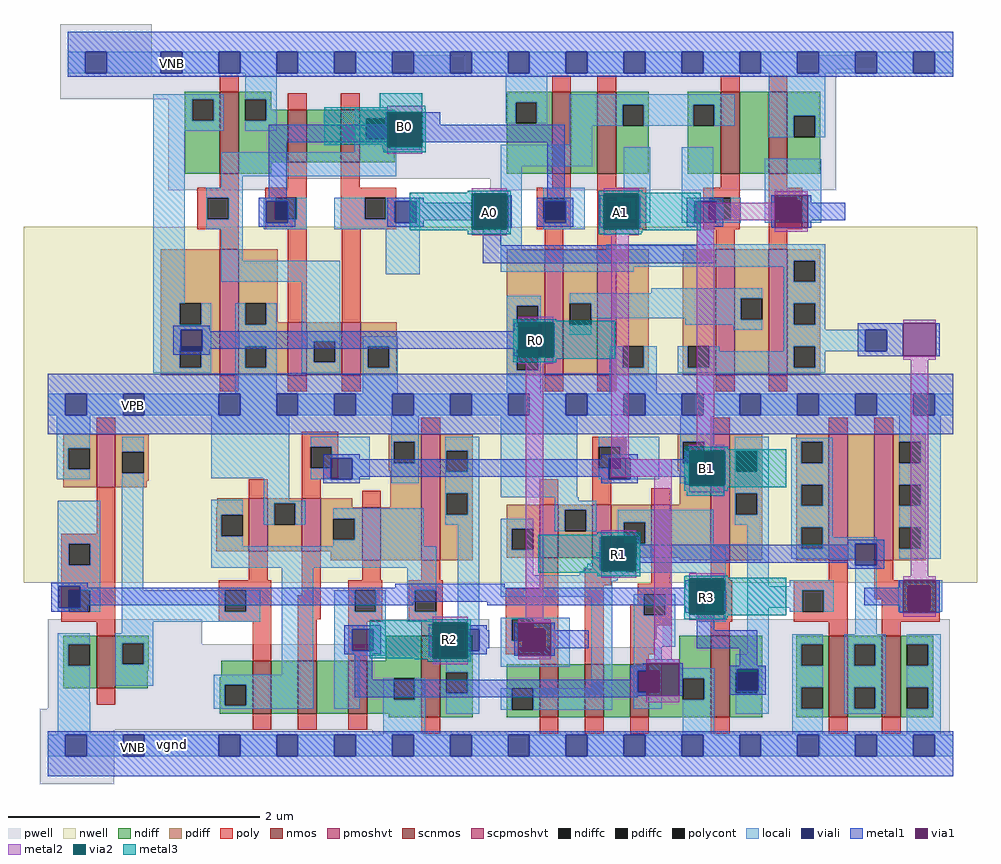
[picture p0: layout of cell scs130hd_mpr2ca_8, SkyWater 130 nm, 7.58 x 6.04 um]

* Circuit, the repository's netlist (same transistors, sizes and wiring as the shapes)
* NGSPICE file created from scs130hd_mpr2ca_8.ext - technology: sky130A

.subckt scs130hd_mpr2ca_8 A1 B1 R3 R2 R1 R0 B0 A0 vgnd vpwr VNB VPB
X0 a_772_910# B0 vgnd VNB sky130_fd_pr__nfet_01v8 ad=0.06825 pd=0.86 as=0.234 ps=2.02 w=0.65 l=0.15
X1 a_178_822# A0 a_352_928# VNB sky130_fd_pr__nfet_01v8 ad=0.1176 pd=1.4 as=0.0567 ps=0.69 w=0.42 l=0.15
X2 a_296_52# a_48_92# a_208_310# VNB sky130_fd_pr__nfet_01v8 ad=0.0441 pd=0.63 as=0.1079 ps=1.36 w=0.42 l=0.15
X3 a_824_46# B1 a_752_46# VNB sky130_fd_pr__nfet_01v8 ad=0.0441 pd=0.63 as=0.0441 ps=0.63 w=0.42 l=0.15
X4 vgnd a_844_910# R1 VNB sky130_fd_pr__nfet_01v8 ad=0.169 pd=1.82 as=0.08775 ps=0.92 w=0.65 l=0.15
X5 vpwr A1 a_670_46# VPB sky130_fd_pr__pfet_01v8_hvt ad=0.140425 pd=1.335 as=0.0672 ps=0.74 w=0.42 l=0.15
X6 R3 a_670_46# vpwr VPB sky130_fd_pr__pfet_01v8_hvt ad=0.26 pd=2.52 as=0.140425 ps=1.335 w=1 l=0.15
X7 a_352_928# B0 vgnd VNB sky130_fd_pr__nfet_01v8 ad=0.0567 pd=0.69 as=0.1118 ps=1.04 w=0.42 l=0.15
X8 vpwr A1 a_208_310# VPB sky130_fd_pr__pfet_01v8_hvt ad=0.140425 pd=1.335 as=0.07525 ps=0.82 w=0.42 l=0.15
X9 a_368_52# B1 a_296_52# VNB sky130_fd_pr__nfet_01v8 ad=0.0525 pd=0.67 as=0.0441 ps=0.63 w=0.42 l=0.15
X10 vgnd A1 a_824_46# VNB sky130_fd_pr__nfet_01v8 ad=0.13165 pd=1.14 as=0.0441 ps=0.63 w=0.42 l=0.15
X11 vpwr a_178_822# R0 VPB sky130_fd_pr__pfet_01v8_hvt ad=0.1718 pd=1.39 as=0.47 ps=2.94 w=1 l=0.15
X12 a_208_310# B1 vpwr VPB sky130_fd_pr__pfet_01v8_hvt ad=0.07525 pd=0.82 as=0.0567 ps=0.69 w=0.42 l=0.15
X13 vpwr a_844_910# a_1212_296# VPB sky130_fd_pr__pfet_01v8_hvt ad=0.26 pd=2.52 as=0.105 ps=1.21 w=1 l=0.15
X14 vpwr a_48_92# a_208_310# VPB sky130_fd_pr__pfet_01v8_hvt ad=0.0567 pd=0.69 as=0.1085 ps=1.36 w=0.42 l=0.15
X15 a_178_822# B0 vpwr VPB sky130_fd_pr__pfet_01v8_hvt ad=0.0588 pd=0.7 as=0.1718 ps=1.39 w=0.42 l=0.15
X16 a_48_92# R3 vpwr VPB sky130_fd_pr__pfet_01v8_hvt ad=0.11055 pd=1.37 as=0.1113 ps=1.37 w=0.42 l=0.15
X17 vpwr A1 a_760_590# VPB sky130_fd_pr__pfet_01v8_hvt ad=0.26 pd=2.52 as=0.135 ps=1.27 w=1 l=0.15
X18 a_670_46# B1 vpwr VPB sky130_fd_pr__pfet_01v8_hvt ad=0.0672 pd=0.74 as=0.0567 ps=0.69 w=0.42 l=0.15
X19 a_1212_296# R3 R1 VPB sky130_fd_pr__pfet_01v8_hvt ad=0.105 pd=1.21 as=0.26 ps=2.52 w=1 l=0.15
X20 R2 a_208_310# vgnd VNB sky130_fd_pr__nfet_01v8 ad=0.169 pd=1.82 as=0.1222 ps=1.08 w=0.65 l=0.15
X21 a_844_910# B1 a_760_590# VPB sky130_fd_pr__pfet_01v8_hvt ad=0.26 pd=2.52 as=0.135 ps=1.27 w=1 l=0.15
X22 vpwr R0 a_670_46# VPB sky130_fd_pr__pfet_01v8_hvt ad=0.0567 pd=0.69 as=0.1092 ps=1.36 w=0.42 l=0.15
X23 R3 a_670_46# vgnd VNB sky130_fd_pr__nfet_01v8 ad=0.169 pd=1.82 as=0.13165 ps=1.14 w=0.65 l=0.15
X24 a_760_590# B0 vpwr VPB sky130_fd_pr__pfet_01v8_hvt ad=0.135 pd=1.27 as=0.3 ps=2.6 w=1 l=0.15
X25 vgnd A1 a_368_52# VNB sky130_fd_pr__nfet_01v8 ad=0.1222 pd=1.08 as=0.0525 ps=0.67 w=0.42 l=0.15
X26 vgnd a_178_822# R0 VNB sky130_fd_pr__nfet_01v8 ad=0.1118 pd=1.04 as=0.182 ps=1.86 w=0.65 l=0.15
X27 a_1040_910# A0 a_844_910# VNB sky130_fd_pr__nfet_01v8 ad=0.07475 pd=0.88 as=0.169 ps=1.82 w=0.65 l=0.15
X28 vpwr A0 a_178_822# VPB sky130_fd_pr__pfet_01v8_hvt ad=0.1197 pd=1.41 as=0.0588 ps=0.7 w=0.42 l=0.15
X29 a_48_92# R3 vgnd VNB sky130_fd_pr__nfet_01v8 ad=0.1099 pd=1.37 as=0.1113 ps=1.37 w=0.42 l=0.15
X30 R1 R3 vgnd VNB sky130_fd_pr__nfet_01v8 ad=0.08775 pd=0.92 as=0.169 ps=1.82 w=0.65 l=0.15
X31 a_844_910# A1 a_772_910# VNB sky130_fd_pr__nfet_01v8 ad=0.169 pd=1.82 as=0.06825 ps=0.86 w=0.65 l=0.15
X32 R2 a_208_310# vpwr VPB sky130_fd_pr__pfet_01v8_hvt ad=0.26 pd=2.52 as=0.140425 ps=1.335 w=1 l=0.15
X33 a_760_590# A0 a_844_910# VPB sky130_fd_pr__pfet_01v8_hvt ad=0.135 pd=1.27 as=0.26 ps=2.52 w=1 l=0.15
X34 a_752_46# R0 a_670_46# VNB sky130_fd_pr__nfet_01v8 ad=0.0441 pd=0.63 as=0.1092 ps=1.36 w=0.42 l=0.15
X35 vgnd B1 a_1040_910# VNB sky130_fd_pr__nfet_01v8 ad=0.169 pd=1.82 as=0.07475 ps=0.88 w=0.65 l=0.15
.ends

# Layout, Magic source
magic
tech sky130A
magscale 1 2
<< nwell >>
rect -98 260 1418 826
<< pwell >>
rect -40 1066 106 1148
rect 488 1098 522 1104
rect 1132 1098 1166 1104
rect 488 1066 604 1098
rect 1132 1076 1258 1098
rect 1132 1066 1194 1076
rect -40 1028 1194 1066
rect 132 902 1194 1028
rect 132 884 322 902
rect 644 884 1194 902
rect -60 162 186 202
rect 452 162 642 202
rect -60 157 642 162
rect 918 157 1374 202
rect -60 60 1374 157
rect -72 26 1374 60
rect -72 -60 46 26
rect 456 21 1374 26
rect 672 -16 706 20
rect 1134 18 1168 20
rect 1132 16 1168 18
rect 1134 -16 1168 16
<< nmos >>
rect 18 92 48 176
<< scnmos >>
rect 214 910 244 1040
rect 322 928 352 1012
rect 406 928 436 1012
rect 742 910 772 1040
rect 814 910 844 1040
rect 1010 910 1040 1040
rect 1086 910 1116 1040
rect 266 52 296 136
rect 338 52 368 136
rect 418 52 448 136
rect 534 46 564 176
rect 722 46 752 130
rect 794 46 824 130
rect 866 46 896 130
rect 994 46 1024 176
rect 1182 46 1212 176
rect 1266 46 1296 176
<< scpmoshvt >>
rect 214 590 244 790
rect 730 590 760 790
rect 814 590 844 790
rect 1002 590 1032 790
rect 1086 590 1116 790
rect 260 310 290 394
rect 344 310 374 394
rect 440 296 470 380
rect 534 296 564 496
rect 722 300 752 384
rect 806 300 836 384
rect 900 300 930 384
rect 994 296 1024 496
rect 1182 296 1212 496
rect 1254 296 1284 496
<< pmoshvt >>
rect 322 590 352 674
rect 408 590 438 674
rect 18 412 48 496
<< ndiff >>
rect 158 1028 214 1040
rect 158 994 170 1028
rect 204 994 214 1028
rect 158 910 214 994
rect 244 1028 296 1040
rect 244 994 254 1028
rect 288 1012 296 1028
rect 670 1024 742 1040
rect 288 994 322 1012
rect 244 928 322 994
rect 352 928 406 1012
rect 436 998 492 1012
rect 436 964 446 998
rect 480 964 492 998
rect 436 928 492 964
rect 670 990 684 1024
rect 718 990 742 1024
rect 244 910 296 928
rect 670 910 742 990
rect 772 910 814 1040
rect 844 1020 896 1040
rect 844 986 854 1020
rect 888 986 896 1020
rect 844 910 896 986
rect 958 1020 1010 1040
rect 958 986 966 1020
rect 1000 986 1010 1020
rect 958 910 1010 986
rect 1040 910 1086 1040
rect 1116 1002 1168 1040
rect 1116 968 1126 1002
rect 1160 968 1168 1002
rect 1116 910 1168 968
rect -35 162 18 176
rect -35 128 -27 162
rect 7 128 18 162
rect -35 92 18 128
rect 48 164 101 176
rect 48 130 59 164
rect 93 130 101 164
rect 478 136 534 176
rect 48 120 101 130
rect 48 92 99 120
rect 216 110 266 136
rect 214 98 266 110
rect 214 64 222 98
rect 256 64 266 98
rect 214 52 266 64
rect 296 52 338 136
rect 368 52 418 136
rect 448 108 534 136
rect 448 74 490 108
rect 524 74 534 108
rect 448 52 534 74
rect 482 46 534 52
rect 564 118 616 176
rect 944 130 994 176
rect 564 84 574 118
rect 608 84 616 118
rect 564 46 616 84
rect 670 92 722 130
rect 670 58 678 92
rect 712 58 722 92
rect 670 46 722 58
rect 752 46 794 130
rect 824 46 866 130
rect 896 108 994 130
rect 896 74 950 108
rect 984 74 994 108
rect 896 46 994 74
rect 1024 118 1076 176
rect 1024 84 1034 118
rect 1068 84 1076 118
rect 1024 46 1076 84
rect 1130 162 1182 176
rect 1130 128 1138 162
rect 1172 128 1182 162
rect 1130 94 1182 128
rect 1130 60 1138 94
rect 1172 60 1182 94
rect 1130 46 1182 60
rect 1212 162 1266 176
rect 1212 128 1222 162
rect 1256 128 1266 162
rect 1212 94 1266 128
rect 1212 60 1222 94
rect 1256 60 1266 94
rect 1212 46 1266 60
rect 1296 162 1348 176
rect 1296 128 1306 162
rect 1340 128 1348 162
rect 1296 94 1348 128
rect 1296 60 1306 94
rect 1340 60 1348 94
rect 1296 46 1348 60
<< pdiff >>
rect 120 704 214 790
rect 120 670 150 704
rect 184 670 214 704
rect 120 636 214 670
rect 120 602 150 636
rect 184 602 214 636
rect 120 590 214 602
rect 244 704 306 790
rect 244 670 254 704
rect 288 674 306 704
rect 670 700 730 790
rect 288 670 322 674
rect 244 636 322 670
rect 244 602 254 636
rect 288 602 322 636
rect 244 590 322 602
rect 352 644 408 674
rect 352 610 363 644
rect 397 610 408 644
rect 352 590 408 610
rect 438 636 495 674
rect 438 602 449 636
rect 483 602 495 636
rect 438 590 495 602
rect 670 666 686 700
rect 720 666 730 700
rect 670 632 730 666
rect 670 598 686 632
rect 720 598 730 632
rect 670 590 730 598
rect 760 704 814 790
rect 760 670 770 704
rect 804 670 814 704
rect 760 590 814 670
rect 844 636 896 790
rect 844 602 854 636
rect 888 602 896 636
rect 844 590 896 602
rect 950 636 1002 790
rect 950 602 958 636
rect 992 602 1002 636
rect 950 590 1002 602
rect 1032 712 1086 790
rect 1032 678 1042 712
rect 1076 678 1086 712
rect 1032 590 1086 678
rect 1116 772 1168 790
rect 1116 738 1126 772
rect 1160 738 1168 772
rect 1116 704 1168 738
rect 1116 670 1126 704
rect 1160 670 1168 704
rect 1116 636 1168 670
rect 1116 602 1126 636
rect 1160 602 1168 636
rect 1116 590 1168 602
rect -35 474 18 496
rect -35 440 -27 474
rect 7 440 18 474
rect -35 412 18 440
rect 48 468 101 496
rect 48 434 59 468
rect 93 434 101 468
rect 48 422 101 434
rect 482 484 534 496
rect 482 450 490 484
rect 524 450 534 484
rect 482 438 534 450
rect 48 412 98 422
rect 210 380 260 394
rect 208 368 260 380
rect 208 334 216 368
rect 250 334 260 368
rect 208 310 260 334
rect 290 386 344 394
rect 290 352 300 386
rect 334 352 344 386
rect 290 310 344 352
rect 374 380 424 394
rect 485 380 534 438
rect 374 362 440 380
rect 374 328 394 362
rect 428 328 440 362
rect 374 310 440 328
rect 390 296 440 310
rect 470 296 534 380
rect 564 470 616 496
rect 564 436 574 470
rect 608 436 616 470
rect 564 402 616 436
rect 942 484 994 496
rect 942 450 950 484
rect 984 450 994 484
rect 942 438 994 450
rect 564 368 574 402
rect 608 368 616 402
rect 945 384 994 438
rect 564 296 616 368
rect 670 346 722 384
rect 670 312 678 346
rect 712 312 722 346
rect 670 300 722 312
rect 752 376 806 384
rect 752 342 762 376
rect 796 342 806 376
rect 752 300 806 342
rect 836 356 900 384
rect 836 322 856 356
rect 890 322 900 356
rect 836 300 900 322
rect 930 300 994 384
rect 945 296 994 300
rect 1024 470 1076 496
rect 1024 436 1034 470
rect 1068 436 1076 470
rect 1024 402 1076 436
rect 1024 368 1034 402
rect 1068 368 1076 402
rect 1024 296 1076 368
rect 1130 484 1182 496
rect 1130 450 1138 484
rect 1172 450 1182 484
rect 1130 416 1182 450
rect 1130 382 1138 416
rect 1172 382 1182 416
rect 1130 348 1182 382
rect 1130 314 1138 348
rect 1172 314 1182 348
rect 1130 296 1182 314
rect 1212 296 1254 496
rect 1284 484 1336 496
rect 1284 450 1294 484
rect 1328 450 1336 484
rect 1284 416 1336 450
rect 1284 382 1294 416
rect 1328 382 1336 416
rect 1284 348 1336 382
rect 1284 314 1294 348
rect 1328 314 1336 348
rect 1284 296 1336 314
<< ndiffc >>
rect 170 994 204 1028
rect 254 994 288 1028
rect 446 964 480 998
rect 684 990 718 1024
rect 854 986 888 1020
rect 966 986 1000 1020
rect 1126 968 1160 1002
rect -27 128 7 162
rect 59 130 93 164
rect 222 64 256 98
rect 490 74 524 108
rect 574 84 608 118
rect 678 58 712 92
rect 950 74 984 108
rect 1034 84 1068 118
rect 1138 128 1172 162
rect 1138 60 1172 94
rect 1222 128 1256 162
rect 1222 60 1256 94
rect 1306 128 1340 162
rect 1306 60 1340 94
<< pdiffc >>
rect 150 670 184 704
rect 150 602 184 636
rect 254 670 288 704
rect 254 602 288 636
rect 363 610 397 644
rect 449 602 483 636
rect 686 666 720 700
rect 686 598 720 632
rect 770 670 804 704
rect 854 602 888 636
rect 958 602 992 636
rect 1042 678 1076 712
rect 1126 738 1160 772
rect 1126 670 1160 704
rect 1126 602 1160 636
rect -27 440 7 474
rect 59 434 93 468
rect 490 450 524 484
rect 216 334 250 368
rect 300 352 334 386
rect 394 328 428 362
rect 574 436 608 470
rect 950 450 984 484
rect 574 368 608 402
rect 678 312 712 346
rect 762 342 796 376
rect 856 322 890 356
rect 1034 436 1068 470
rect 1034 368 1068 402
rect 1138 450 1172 484
rect 1138 382 1172 416
rect 1138 314 1172 348
rect 1294 450 1328 484
rect 1294 382 1328 416
rect 1294 314 1328 348
<< poly >>
rect 214 1040 244 1066
rect 742 1040 772 1066
rect 814 1040 844 1066
rect 1010 1040 1040 1066
rect 1086 1040 1116 1066
rect 322 1012 352 1038
rect 406 1012 436 1038
rect 214 888 244 910
rect 322 888 352 928
rect 178 872 244 888
rect 178 838 194 872
rect 228 838 244 872
rect 178 822 244 838
rect 286 872 352 888
rect 286 838 302 872
rect 336 838 352 872
rect 286 822 352 838
rect 406 888 436 928
rect 742 888 772 910
rect 406 872 494 888
rect 406 838 444 872
rect 478 838 494 872
rect 406 823 494 838
rect 407 822 494 823
rect 718 872 772 888
rect 718 838 728 872
rect 762 838 772 872
rect 718 822 772 838
rect 814 888 844 910
rect 1010 888 1040 910
rect 814 872 892 888
rect 814 838 844 872
rect 878 838 892 872
rect 814 822 892 838
rect 982 872 1040 888
rect 982 838 992 872
rect 1026 838 1040 872
rect 982 822 1040 838
rect 1086 888 1116 910
rect 1086 872 1140 888
rect 1086 838 1096 872
rect 1130 838 1140 872
rect 1086 822 1140 838
rect 214 790 244 822
rect 322 674 352 822
rect 408 674 438 822
rect 730 790 760 822
rect 814 790 844 822
rect 1002 790 1032 822
rect 1086 790 1116 822
rect 214 564 244 590
rect 322 564 352 590
rect 408 564 438 590
rect 730 564 760 590
rect 814 564 844 590
rect 1002 564 1032 590
rect 1086 564 1116 590
rect 18 496 48 522
rect 344 476 402 500
rect 534 496 564 522
rect 994 496 1024 522
rect 1182 496 1212 522
rect 1254 496 1284 522
rect 344 442 358 476
rect 392 442 402 476
rect 344 426 402 442
rect 18 338 48 412
rect 260 394 290 424
rect 344 394 374 426
rect -38 322 48 338
rect -38 288 -26 322
rect 8 288 48 322
rect 440 380 470 406
rect -38 248 48 288
rect 260 264 290 310
rect -38 214 -26 248
rect 8 214 48 248
rect -38 198 48 214
rect 212 248 296 264
rect 212 214 222 248
rect 256 214 296 248
rect 344 240 374 310
rect 806 476 860 492
rect 806 442 816 476
rect 850 442 860 476
rect 806 426 860 442
rect 722 384 752 424
rect 806 384 836 426
rect 900 384 930 410
rect 440 264 470 296
rect 534 264 564 296
rect 212 198 296 214
rect 18 176 48 198
rect 266 136 296 198
rect 338 202 374 240
rect 418 248 472 264
rect 418 214 428 248
rect 462 214 472 248
rect 338 136 368 202
rect 418 198 472 214
rect 514 248 568 264
rect 722 250 752 300
rect 806 282 836 300
rect 514 214 524 248
rect 558 214 568 248
rect 514 198 568 214
rect 668 202 752 250
rect 418 136 448 198
rect 534 176 564 198
rect 18 66 48 92
rect 266 26 296 52
rect 338 26 368 52
rect 418 26 448 52
rect 668 168 678 202
rect 712 168 752 202
rect 668 146 752 168
rect 722 130 752 146
rect 794 256 836 282
rect 900 258 930 300
rect 994 264 1024 296
rect 1182 264 1212 296
rect 794 130 824 256
rect 878 242 932 258
rect 878 226 888 242
rect 866 208 888 226
rect 922 208 932 242
rect 866 192 932 208
rect 974 248 1028 264
rect 974 214 984 248
rect 1018 214 1028 248
rect 974 198 1028 214
rect 1126 248 1212 264
rect 1126 214 1140 248
rect 1174 214 1212 248
rect 1254 264 1284 296
rect 1254 248 1358 264
rect 1254 234 1308 248
rect 1126 198 1212 214
rect 866 170 908 192
rect 994 176 1024 198
rect 1182 176 1212 198
rect 1266 214 1308 234
rect 1342 214 1358 248
rect 1266 198 1358 214
rect 1266 176 1296 198
rect 866 146 904 170
rect 866 130 896 146
rect 534 20 564 46
rect 722 20 752 46
rect 794 20 824 46
rect 866 20 896 46
rect 994 20 1024 46
rect 1182 20 1212 46
rect 1266 20 1296 46
<< polycont >>
rect 194 838 228 872
rect 302 838 336 872
rect 444 838 478 872
rect 728 838 762 872
rect 844 838 878 872
rect 992 838 1026 872
rect 1096 838 1130 872
rect 358 442 392 476
rect -26 288 8 322
rect -26 214 8 248
rect 222 214 256 248
rect 816 442 850 476
rect 428 214 462 248
rect 524 214 558 248
rect 678 168 712 202
rect 888 208 922 242
rect 984 214 1018 248
rect 1140 214 1174 248
rect 1308 214 1342 248
<< locali >>
rect -28 1070 0 1104
rect 34 1070 120 1104
rect 154 1070 212 1104
rect 246 1070 304 1104
rect 338 1070 396 1104
rect 430 1070 488 1104
rect 522 1070 580 1104
rect 614 1070 672 1104
rect 706 1070 764 1104
rect 798 1070 856 1104
rect 890 1070 948 1104
rect 982 1070 1040 1104
rect 1074 1070 1132 1104
rect 1166 1070 1224 1104
rect 1258 1070 1316 1104
rect 1350 1070 1380 1104
rect 108 1028 220 1036
rect 108 994 170 1028
rect 204 994 220 1028
rect 108 978 220 994
rect 254 1028 304 1070
rect 288 994 304 1028
rect 668 1024 734 1070
rect 254 978 304 994
rect 428 1010 480 1016
rect 428 998 494 1010
rect 108 704 158 978
rect 428 964 446 998
rect 480 964 494 998
rect 668 990 684 1024
rect 718 990 734 1024
rect 770 1020 1032 1036
rect 428 944 494 964
rect 770 986 854 1020
rect 888 986 966 1020
rect 1000 986 1032 1020
rect 1086 1002 1176 1070
rect 770 956 806 986
rect 1086 968 1126 1002
rect 1160 968 1176 1002
rect 216 906 494 944
rect 660 922 806 956
rect 216 888 250 906
rect 192 872 250 888
rect 192 838 194 872
rect 228 838 250 872
rect 192 822 250 838
rect 284 866 302 872
rect 284 832 288 866
rect 336 838 352 872
rect 322 832 352 838
rect 284 822 352 832
rect 396 838 444 872
rect 478 866 532 872
rect 478 838 492 866
rect 396 832 492 838
rect 526 832 532 866
rect 396 822 532 832
rect 216 772 250 822
rect 216 738 405 772
rect 478 750 532 822
rect 660 788 694 922
rect 728 872 794 888
rect 856 872 898 952
rect 762 866 794 872
rect 728 832 730 838
rect 764 832 794 866
rect 828 866 844 872
rect 828 832 832 866
rect 878 838 898 872
rect 866 832 898 838
rect 948 872 998 952
rect 1080 872 1170 934
rect 948 866 992 872
rect 948 832 968 866
rect 1026 838 1042 872
rect 1002 832 1042 838
rect 1080 838 1096 872
rect 1130 866 1170 872
rect 1080 832 1104 838
rect 1138 832 1170 866
rect 728 822 794 832
rect 828 788 1176 798
rect 660 772 1176 788
rect 660 762 1126 772
rect 660 754 872 762
rect 108 670 150 704
rect 184 670 200 704
rect 108 662 200 670
rect 108 636 152 662
rect 108 602 150 636
rect 186 628 200 662
rect 184 602 200 628
rect 108 594 200 602
rect 238 670 254 704
rect 288 670 304 704
rect 238 636 304 670
rect 238 602 254 636
rect 288 602 304 636
rect 238 560 304 602
rect 344 644 405 738
rect 1110 738 1126 762
rect 1160 738 1176 772
rect 900 720 1076 728
rect 670 700 724 716
rect 670 666 686 700
rect 720 666 724 700
rect 344 610 363 644
rect 397 610 405 644
rect 344 594 405 610
rect 441 636 497 652
rect 441 602 449 636
rect 483 602 497 636
rect 441 560 497 602
rect 670 632 724 666
rect 770 712 1076 720
rect 770 704 1042 712
rect 804 680 1042 704
rect 954 678 1042 680
rect 954 670 1076 678
rect 770 654 804 670
rect 1030 662 1076 670
rect 1110 704 1176 738
rect 1110 670 1126 704
rect 1160 670 1176 704
rect 1110 662 1176 670
rect 1110 636 1240 662
rect 670 598 686 632
rect 720 598 724 632
rect 670 560 724 598
rect 834 602 854 636
rect 888 602 908 636
rect 834 560 908 602
rect 942 602 958 636
rect 992 628 1008 636
rect 1110 628 1126 636
rect 992 602 1126 628
rect 1160 628 1240 636
rect 1160 602 1176 628
rect 942 594 1176 602
rect -60 526 -32 560
rect 2 526 60 560
rect 94 526 212 560
rect 246 526 304 560
rect 338 526 396 560
rect 430 526 488 560
rect 522 526 580 560
rect 614 526 672 560
rect 706 526 764 560
rect 798 526 856 560
rect 890 526 948 560
rect 982 526 1040 560
rect 1074 526 1132 560
rect 1166 526 1224 560
rect 1258 526 1316 560
rect 1350 526 1380 560
rect -45 496 8 526
rect -45 474 7 496
rect -45 440 -27 474
rect -45 424 7 440
rect 59 468 93 492
rect 59 424 93 434
rect 200 426 324 526
rect 58 412 93 424
rect -44 322 24 390
rect -44 288 -26 322
rect 8 288 24 322
rect -44 254 24 288
rect -44 220 -42 254
rect -8 248 24 254
rect -44 214 -26 220
rect 8 214 24 248
rect 58 248 92 412
rect 200 368 250 392
rect 200 334 216 368
rect 284 390 324 426
rect 358 476 452 492
rect 392 458 452 476
rect 358 424 390 442
rect 424 424 452 458
rect 486 484 530 526
rect 486 450 490 484
rect 524 450 530 484
rect 486 418 530 450
rect 572 470 626 492
rect 572 436 574 470
rect 608 436 626 470
rect 572 402 626 436
rect 284 386 350 390
rect 284 352 300 386
rect 334 352 350 386
rect 394 362 538 378
rect 200 318 250 334
rect 428 328 538 362
rect 572 368 574 402
rect 608 368 626 402
rect 660 396 782 526
rect 816 476 912 492
rect 850 458 912 476
rect 816 424 832 442
rect 866 424 912 458
rect 946 484 998 526
rect 946 450 950 484
rect 984 450 998 484
rect 946 418 998 450
rect 1032 470 1086 492
rect 1032 436 1034 470
rect 1068 436 1086 470
rect 1032 402 1086 436
rect 572 352 626 368
rect 746 390 784 396
rect 746 376 812 390
rect 394 318 538 328
rect 200 284 558 318
rect 58 214 222 248
rect 256 214 278 248
rect 58 198 278 214
rect 58 180 108 198
rect -44 162 7 180
rect -44 128 -27 162
rect -44 70 7 128
rect 48 164 108 180
rect 48 130 59 164
rect 93 130 108 164
rect 48 96 108 130
rect 312 114 362 284
rect 512 248 558 284
rect 204 98 362 114
rect -44 18 8 70
rect 204 64 222 98
rect 256 64 362 98
rect 204 60 362 64
rect 396 214 428 248
rect 462 214 478 248
rect 396 186 478 214
rect 512 214 524 248
rect 512 198 558 214
rect 396 152 424 186
rect 458 152 478 186
rect 396 144 478 152
rect 592 186 626 352
rect 660 346 712 362
rect 660 312 678 346
rect 746 342 762 376
rect 796 342 812 376
rect 846 356 998 376
rect 846 326 856 356
rect 844 322 856 326
rect 890 322 998 356
rect 1032 368 1034 402
rect 1068 368 1086 402
rect 1032 352 1086 368
rect 844 320 998 322
rect 840 318 998 320
rect 840 314 1018 318
rect 836 312 1018 314
rect 660 272 712 312
rect 832 310 1018 312
rect 826 308 1018 310
rect 812 302 1018 308
rect 808 296 1018 302
rect 804 290 1018 296
rect 798 284 1018 290
rect 792 278 1018 284
rect 786 276 1018 278
rect 786 274 858 276
rect 786 272 856 274
rect 660 270 852 272
rect 660 268 850 270
rect 660 264 846 268
rect 660 262 844 264
rect 660 238 838 262
rect 972 248 1018 276
rect 592 146 626 152
rect 396 60 436 144
rect 574 118 626 146
rect 660 202 770 204
rect 660 168 678 202
rect 712 186 770 202
rect 660 152 696 168
rect 730 152 770 186
rect 660 126 770 152
rect 474 74 490 108
rect 524 74 540 108
rect 474 18 540 74
rect 608 84 626 118
rect 804 92 838 238
rect 574 52 626 84
rect 660 58 678 92
rect 712 58 838 92
rect 872 208 888 242
rect 922 208 938 242
rect 872 158 938 208
rect 972 214 984 248
rect 972 198 1018 214
rect 1052 254 1086 352
rect 1122 484 1188 490
rect 1122 450 1138 484
rect 1172 450 1188 484
rect 1122 416 1188 450
rect 1122 382 1138 416
rect 1172 382 1188 416
rect 1122 348 1188 382
rect 1122 314 1138 348
rect 1172 332 1188 348
rect 1294 484 1360 526
rect 1328 450 1360 484
rect 1294 416 1360 450
rect 1328 382 1360 416
rect 1294 348 1360 382
rect 1172 322 1258 332
rect 1172 314 1224 322
rect 1122 298 1224 314
rect 1328 314 1360 348
rect 1294 298 1360 314
rect 1120 254 1190 264
rect 1052 248 1190 254
rect 1052 220 1140 248
rect 872 120 916 158
rect 1052 146 1086 220
rect 1120 214 1140 220
rect 1174 214 1190 248
rect 1224 178 1258 288
rect 1292 254 1362 264
rect 1292 214 1308 254
rect 1342 214 1362 254
rect 872 86 878 120
rect 912 86 916 120
rect 872 60 916 86
rect 950 108 1000 124
rect 984 74 1000 108
rect 950 18 1000 74
rect 1034 122 1086 146
rect 1034 118 1036 122
rect 1070 88 1086 122
rect 1068 84 1086 88
rect 1034 52 1086 84
rect 1124 162 1172 178
rect 1124 128 1138 162
rect 1124 94 1172 128
rect 1124 60 1138 94
rect 1124 18 1172 60
rect 1206 162 1272 178
rect 1206 128 1222 162
rect 1256 128 1272 162
rect 1206 94 1272 128
rect 1206 60 1222 94
rect 1256 60 1272 94
rect 1206 52 1272 60
rect 1306 162 1360 178
rect 1340 128 1360 162
rect 1306 94 1360 128
rect 1340 60 1360 94
rect 1306 18 1360 60
rect -60 -16 -32 18
rect 2 -16 60 18
rect 94 -16 212 18
rect 246 -16 304 18
rect 338 -16 396 18
rect 430 -16 488 18
rect 522 -16 580 18
rect 614 -16 672 18
rect 706 -16 764 18
rect 798 -16 856 18
rect 890 -16 948 18
rect 982 -16 1040 18
rect 1074 -16 1132 18
rect 1166 -16 1224 18
rect 1258 -16 1316 18
rect 1350 -16 1380 18
<< viali >>
rect 0 1070 34 1104
rect 120 1070 154 1104
rect 212 1070 246 1104
rect 304 1070 338 1104
rect 396 1070 430 1104
rect 488 1070 522 1104
rect 580 1070 614 1104
rect 672 1070 706 1104
rect 764 1070 798 1104
rect 856 1070 890 1104
rect 948 1070 982 1104
rect 1040 1070 1074 1104
rect 1132 1070 1166 1104
rect 1224 1070 1258 1104
rect 1316 1070 1350 1104
rect 288 838 302 866
rect 302 838 322 866
rect 288 832 322 838
rect 492 832 526 866
rect 730 838 762 866
rect 762 838 764 866
rect 730 832 764 838
rect 832 838 844 866
rect 844 838 866 866
rect 832 832 866 838
rect 968 838 992 866
rect 992 838 1002 866
rect 968 832 1002 838
rect 1104 838 1130 866
rect 1130 838 1138 866
rect 1104 832 1138 838
rect 152 636 186 662
rect 152 628 184 636
rect 184 628 186 636
rect 1240 628 1274 662
rect -32 526 2 560
rect 60 526 94 560
rect 212 526 246 560
rect 304 526 338 560
rect 396 526 430 560
rect 488 526 522 560
rect 580 526 614 560
rect 672 526 706 560
rect 764 526 798 560
rect 856 526 890 560
rect 948 526 982 560
rect 1040 526 1074 560
rect 1132 526 1166 560
rect 1224 526 1258 560
rect 1316 526 1350 560
rect -42 248 -8 254
rect -42 220 -26 248
rect -26 220 -8 248
rect 390 442 392 458
rect 392 442 424 458
rect 390 424 424 442
rect 832 442 850 458
rect 850 442 866 458
rect 832 424 866 442
rect 424 152 458 186
rect 592 152 626 186
rect 696 168 712 186
rect 712 168 730 186
rect 696 152 730 168
rect 1224 288 1258 322
rect 1308 248 1342 254
rect 1308 220 1342 248
rect 878 86 912 120
rect 1036 118 1070 122
rect 1036 88 1068 118
rect 1068 88 1070 118
rect -32 -16 2 18
rect 60 -16 94 18
rect 212 -16 246 18
rect 304 -16 338 18
rect 396 -16 430 18
rect 488 -16 522 18
rect 580 -16 614 18
rect 672 -16 706 18
rect 764 -16 798 18
rect 856 -16 890 18
rect 948 -16 982 18
rect 1040 -16 1074 18
rect 1132 -16 1166 18
rect 1224 -16 1258 18
rect 1316 -16 1350 18
<< metal1 >>
rect -28 1104 1380 1136
rect -28 1070 0 1104
rect 34 1070 120 1104
rect 154 1070 212 1104
rect 246 1070 304 1104
rect 338 1070 396 1104
rect 430 1070 488 1104
rect 522 1070 580 1104
rect 614 1070 672 1104
rect 706 1070 764 1104
rect 798 1070 856 1104
rect 890 1070 948 1104
rect 982 1070 1040 1104
rect 1074 1070 1132 1104
rect 1166 1070 1224 1104
rect 1258 1070 1316 1104
rect 1350 1070 1380 1104
rect -28 1064 1380 1070
rect 478 1006 564 1008
rect 478 988 484 1006
rect 292 960 484 988
rect 292 872 320 960
rect 480 954 484 960
rect 536 988 564 1006
rect 536 960 762 988
rect 484 948 536 954
rect 276 866 334 872
rect 276 832 288 866
rect 322 832 334 866
rect 276 826 334 832
rect 480 866 538 872
rect 480 832 492 866
rect 526 864 538 866
rect 614 864 620 876
rect 526 836 620 864
rect 526 832 538 836
rect 480 826 538 832
rect 614 824 620 836
rect 672 824 678 876
rect 734 872 762 960
rect 718 866 776 872
rect 718 832 730 866
rect 764 832 776 866
rect 718 826 776 832
rect 818 824 824 876
rect 876 824 882 876
rect 956 866 1014 872
rect 956 832 968 866
rect 1002 832 1014 866
rect 956 826 1014 832
rect 632 796 660 824
rect 972 796 1000 826
rect 1090 824 1096 876
rect 1148 864 1154 876
rect 1148 836 1208 864
rect 1148 824 1154 836
rect 632 768 1000 796
rect 140 662 198 668
rect 140 628 152 662
rect 186 660 198 662
rect 682 660 688 672
rect 186 632 688 660
rect 186 628 198 632
rect 140 622 198 628
rect 682 620 688 632
rect 740 620 746 672
rect 1228 662 1300 672
rect 1228 628 1240 662
rect 1274 628 1300 662
rect 1228 620 1300 628
rect 1352 620 1358 672
rect 322 592 352 593
rect -60 560 1380 592
rect -60 526 -32 560
rect 2 526 60 560
rect 94 526 212 560
rect 246 526 304 560
rect 338 526 396 560
rect 430 526 488 560
rect 522 526 580 560
rect 614 526 672 560
rect 706 526 764 560
rect 798 526 856 560
rect 890 526 948 560
rect 982 526 1040 560
rect 1074 526 1132 560
rect 1166 526 1224 560
rect 1258 526 1316 560
rect 1350 526 1380 560
rect -60 496 1380 526
rect 378 458 436 464
rect 378 424 390 458
rect 424 456 436 458
rect 820 458 878 464
rect 820 456 832 458
rect 424 428 832 456
rect 424 424 436 428
rect 378 418 436 424
rect 820 424 832 428
rect 866 456 878 458
rect 954 456 960 468
rect 866 428 960 456
rect 866 424 878 428
rect 820 418 878 424
rect 954 416 960 428
rect 1012 416 1018 468
rect 818 280 824 332
rect 876 320 882 332
rect 1212 322 1270 328
rect 1212 320 1224 322
rect 876 292 1224 320
rect 876 280 882 292
rect 1212 288 1224 292
rect 1258 288 1270 322
rect 1212 282 1270 288
rect -54 254 4 260
rect -54 220 -42 254
rect -8 252 4 254
rect 493 252 667 258
rect 954 252 960 264
rect -8 230 960 252
rect -8 224 521 230
rect 639 224 960 230
rect -8 220 4 224
rect -54 214 4 220
rect 954 212 960 224
rect 1012 212 1018 264
rect 1294 252 1300 264
rect 1238 224 1300 252
rect 1294 212 1300 224
rect 1352 212 1358 264
rect 412 186 470 192
rect 412 152 424 186
rect 458 152 470 186
rect 412 146 470 152
rect 428 106 456 146
rect 546 142 552 194
rect 604 192 610 194
rect 604 186 638 192
rect 626 184 638 186
rect 626 156 642 184
rect 626 152 638 156
rect 604 146 638 152
rect 604 142 610 146
rect 682 144 688 196
rect 740 184 746 196
rect 972 184 1000 212
rect 740 156 800 184
rect 972 156 1068 184
rect 740 144 746 156
rect 892 132 944 138
rect 886 128 892 132
rect 866 120 892 128
rect 866 106 878 120
rect 428 86 878 106
rect 428 80 892 86
rect 944 80 950 132
rect 1040 128 1068 156
rect 1024 122 1082 128
rect 1024 88 1036 122
rect 1070 88 1082 122
rect 1024 82 1082 88
rect 428 78 878 80
rect -60 18 1380 24
rect -60 -16 -32 18
rect 2 -16 60 18
rect 94 -16 212 18
rect 246 -16 304 18
rect 338 -16 396 18
rect 430 -16 488 18
rect 522 -16 580 18
rect 614 -16 672 18
rect 706 -16 764 18
rect 798 -16 856 18
rect 890 -16 948 18
rect 982 -16 1040 18
rect 1074 -16 1132 18
rect 1166 -16 1224 18
rect 1258 -16 1316 18
rect 1350 -16 1380 18
rect -60 -48 1380 -16
<< via1 >>
rect 484 954 536 1006
rect 620 824 672 876
rect 824 866 876 876
rect 824 832 832 866
rect 832 832 866 866
rect 866 832 876 866
rect 824 824 876 832
rect 1096 866 1148 876
rect 1096 832 1104 866
rect 1104 832 1138 866
rect 1138 832 1148 866
rect 1096 824 1148 832
rect 688 620 740 672
rect 1300 620 1352 672
rect 960 416 1012 468
rect 824 280 876 332
rect 960 212 1012 264
rect 1300 254 1352 264
rect 1300 220 1308 254
rect 1308 220 1342 254
rect 1342 220 1352 254
rect 1300 212 1352 220
rect 552 186 604 194
rect 552 152 592 186
rect 592 152 604 186
rect 552 142 604 152
rect 688 186 740 196
rect 688 152 696 186
rect 696 152 730 186
rect 730 152 740 186
rect 688 144 740 152
rect 892 120 944 132
rect 892 86 912 120
rect 912 86 944 120
rect 892 80 944 86
<< metal2 >>
rect 480 1008 536 1018
rect 480 942 536 952
rect 614 882 670 887
rect 614 878 672 882
rect 670 876 672 878
rect 670 822 672 824
rect 614 818 672 822
rect 824 878 880 887
rect 1096 876 1148 882
rect 614 812 670 818
rect 824 812 880 822
rect 972 836 1096 864
rect 688 674 744 683
rect 688 608 744 618
rect 552 196 608 206
rect 700 202 728 608
rect 836 456 864 812
rect 972 479 1000 836
rect 1096 818 1148 824
rect 1300 672 1352 678
rect 1300 614 1352 620
rect 960 470 1016 479
rect 836 428 932 456
rect 820 334 876 343
rect 820 268 876 278
rect 552 130 608 140
rect 688 196 740 202
rect 688 138 740 144
rect 904 138 932 428
rect 960 404 1016 414
rect 960 266 1016 275
rect 1312 270 1340 614
rect 960 200 1016 210
rect 1300 264 1352 270
rect 1300 206 1352 212
rect 892 132 944 138
rect 892 70 944 80
<< via2 >>
rect 480 1006 536 1008
rect 480 954 484 1006
rect 484 954 536 1006
rect 480 952 536 954
rect 614 876 670 878
rect 614 824 620 876
rect 620 824 670 876
rect 614 822 670 824
rect 824 876 880 878
rect 824 824 876 876
rect 876 824 880 876
rect 824 822 880 824
rect 688 672 744 674
rect 688 620 740 672
rect 740 620 744 672
rect 688 618 744 620
rect 960 468 1016 470
rect 820 332 876 334
rect 820 280 824 332
rect 824 280 876 332
rect 820 278 876 280
rect 552 194 608 196
rect 552 142 604 194
rect 604 142 608 194
rect 552 140 608 142
rect 960 416 1012 468
rect 1012 416 1016 468
rect 960 414 1016 416
rect 960 264 1016 266
rect 960 212 1012 264
rect 1012 212 1016 264
rect 960 210 1016 212
<< metal3 >>
rect 468 1018 536 1038
rect 468 1016 540 1018
rect 380 1012 540 1016
rect 380 1008 541 1012
rect 380 956 480 1008
rect 472 952 480 956
rect 536 952 541 1008
rect 472 950 541 952
rect 474 944 541 950
rect 608 880 676 883
rect 516 878 676 880
rect 516 822 614 878
rect 670 822 676 878
rect 516 820 676 822
rect 608 814 676 820
rect 816 880 885 883
rect 816 878 978 880
rect 816 822 824 878
rect 880 822 978 878
rect 816 820 978 822
rect 816 816 885 820
rect 816 814 884 816
rect 680 676 749 679
rect 680 674 842 676
rect 680 618 688 674
rect 744 618 842 674
rect 680 616 842 618
rect 680 610 749 616
rect 954 474 1021 476
rect 952 472 1021 474
rect 952 470 1114 472
rect 952 414 960 470
rect 1016 414 1114 470
rect 952 412 1114 414
rect 952 406 1021 412
rect 956 398 1016 406
rect 814 336 882 340
rect 720 334 882 336
rect 720 278 820 334
rect 876 278 882 334
rect 720 276 882 278
rect 814 270 882 276
rect 954 270 1021 271
rect 952 268 1021 270
rect 952 266 1114 268
rect 952 210 960 266
rect 1016 210 1114 266
rect 952 208 1114 210
rect 952 204 1021 208
rect 952 202 1020 204
rect 544 200 613 202
rect 452 196 613 200
rect 452 140 552 196
rect 608 140 613 196
rect 524 138 613 140
rect 544 134 613 138
<< labels >>
rlabel metal3 s 954 204 1020 270 4 R3
port 17 nsew
rlabel metal3 s 814 272 880 338 4 R1
port 19 nsew
rlabel metal3 s 682 612 748 678 4 R0
port 20 nsew
rlabel metal3 s 954 408 1020 474 4 B1
port 16 nsew
rlabel metal3 s 474 952 540 1018 4 B0
port 21 nsew
rlabel metal3 s 818 816 884 882 4 A1
port 13 nsew
rlabel metal3 s 610 816 676 882 4 A0
port 22 nsew
rlabel metal3 s 546 136 612 202 4 R2
port 18 nsew
rlabel pwell 138 1086 138 1086 1 VNB
port 25 n
rlabel metal1 182 1086 182 1086 1 vgnd
port 23 n
rlabel metal1 138 2 138 2 1 vgnd
port 23 n
rlabel pwell 76 -2 76 -2 1 VNB
port 25 n
rlabel nwell 76 542 76 542 1 VPB
port 26 n
rlabel metal1 116 544 116 544 1 vpwr
port 24 n
<< properties >>
string FIXED_BBOX 0 0 1380 1088
string path 4.925 1.190 5.425 1.190 
<< end >>
